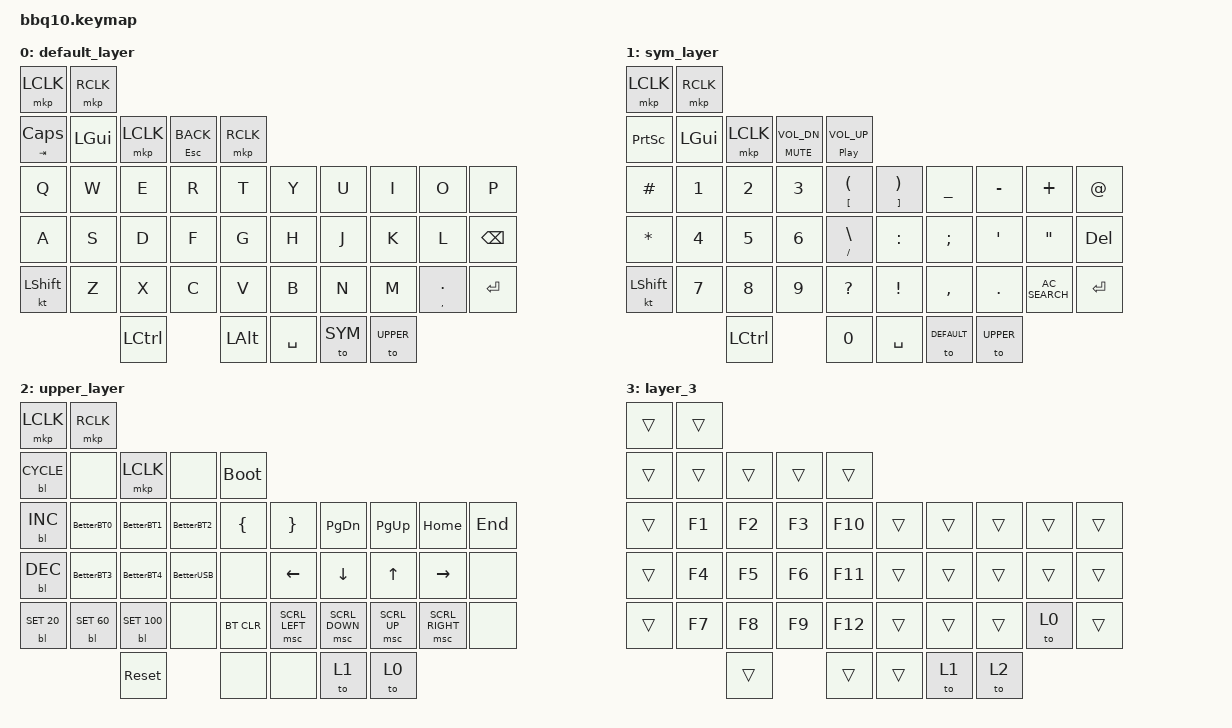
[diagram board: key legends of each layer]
/*
 * Copyright (c) 2023 ZitaoTech
 *
 * SPDX-License-Identifier: MIT
 */



#include <dt-bindings/zmk/mouse.h>
#include <behaviors.dtsi>
#include <dt-bindings/zmk/backlight.h>
#include <dt-bindings/zmk/bt.h>
#include <dt-bindings/zmk/keys.h>
#include <dt-bindings/zmk/keys.h>
#include <dt-bindings/zmk/outputs.h>
#include <dt-bindings/zmk/pointing.h>
#include <dt-bindings/zmk/pointing.h>

#define DEFAULT 0
#define SYM 1
#define UPPER 2

&msc {
    x-input-code = <INPUT_REL_HWHEEL>;
    y-input-code = <INPUT_REL_WHEEL>;
    time-to-max-speed-ms = <300>;
    acceleration-exponent = <1>;
};

&mmv {
    x-input-code = <INPUT_REL_X>;
    y-input-code = <INPUT_REL_Y>;
    time-to-max-speed-ms = <300>;
    acceleration-exponent = <1>;
};

/ {
    macros {
        BetterBT0: BetterBT0 {
            compatible = "zmk,behavior-macro";
            #binding-cells = <0>;
            bindings = <&out OUT_BLE &bt BT_SEL 0 &out OUT_BLE &bl BL_ON &bl BL_CYCLE>;
            label = "BETTERBT0";
        };

        BetterBT1: BetterBT1 {
            compatible = "zmk,behavior-macro";
            #binding-cells = <0>;
            bindings = <&out OUT_BLE &bt BT_SEL 1 &out OUT_BLE &bl BL_ON &bl BL_SET 80>;
            label = "BETTERBT1";
        };

        BetterBT2: BetterBT2 {
            compatible = "zmk,behavior-macro";
            #binding-cells = <0>;
            bindings = <&out OUT_BLE &bt BT_SEL 2 &out OUT_BLE &bl BL_ON &bl BL_SET 40>;
            label = "BETTERBT2";
        };

        BetterBT3: BetterBT3 {
            compatible = "zmk,behavior-macro";
            #binding-cells = <0>;
            bindings = <&out OUT_BLE &bt BT_SEL 3 &out OUT_BLE &bl BL_ON &bl BL_SET 20>;
            label = "BETTERBT3";
        };

        BetterBT4: BetterBT4 {
            compatible = "zmk,behavior-macro";
            #binding-cells = <0>;
            bindings = <&out OUT_BLE &bt BT_SEL 4 &out OUT_BLE &bl BL_ON &bl BL_CYCLE>;
            label = "BETTERBT4";
        };

        BetterUSB: BetterUSB {
            compatible = "zmk,behavior-macro";
            #binding-cells = <0>;
            bindings = <&out OUT_USB &bl BL_ON &bl BL_CYCLE>;
            label = "BETTERUSB";
        };
    };

    keymap {
        compatible = "zmk,keymap";

        default_layer {
            bindings = <
&mkp LCLK         &mkp RCLK
&mt TAB CAPSLOCK  &kp LGUI   &mkp LCLK  &mt ESC K_BACK  &mkp RCLK
&kp Q             &kp W      &kp E      &kp R           &kp T      &kp Y        &kp U    &kp I      &kp O          &kp P
&kp A             &kp S      &kp D      &kp F           &kp G      &kp H        &kp J    &kp K      &kp L          &kp BSPC
&kt LEFT_SHIFT    &kp Z      &kp X      &kp C           &kp V      &kp B        &kp N    &kp M      &mt COMMA DOT  &kp ENTER
                             &kp LCTRL                  &kp LALT   &kp SPACE    &to SYM  &to UPPER
            >;
        };

        sym_layer {
            bindings = <
&mkp LCLK  &mkp RCLK
&kp PSCRN  &kp LEFT_GUI  &mkp LCLK  &mt C_MUTE C_VOL_DN  &mt C_PLAY_PAUSE C_VOL_UP
&kp HASH   &kp N1        &kp N2     &kp N3               &mt LBKT LPAR              &mt RBKT RPAR    &kp UNDER    &kp MINUS  &kp PLUS         &kp AT
&kp STAR   &kp N4        &kp N5     &kp N6               &mt SLASH BACKSLASH        &kp COLON        &kp SEMI     &kp APOS   &kp DQT          &kp DEL
&kt LSHFT  &kp N7        &kp N8     &kp N9               &kp QMARK                  &kp EXCL         &kp COMMA    &kp DOT    &kp C_AC_SEARCH  &kp ENTER
                         &kp LCTRL                       &kp N0                     &kp SPACE        &to DEFAULT  &to UPPER
            >;
        };

        upper_layer {
            bindings = <
&mkp LCLK      &mkp RCLK
&bl BL_CYCLE   &none          &mkp LCLK       &none       &bootloader
&bl BL_INC     &BetterBT0     &BetterBT1      &BetterBT2  &kp LEFT_BRACE  &kp RIGHT_BRACE    &kp PAGE_DOWN   &kp PAGE_UP   &kp HOME         &kp END
&bl BL_DEC     &BetterBT3     &BetterBT4      &BetterUSB  &none           &kp LEFT           &kp DOWN        &kp UP        &kp RIGHT        &none
&bl BL_SET 20  &bl BL_SET 60  &bl BL_SET 100  &none       &bt BT_CLR      &msc SCRL_LEFT     &msc SCRL_DOWN  &msc SCRL_UP  &msc SCRL_RIGHT  &none
                              &sys_reset                  &none           &none              &to 1           &to 0
            >;
        };

        layer_3 {
            bindings = <
&trans  &trans
&trans  &trans  &trans  &trans  &trans
&trans  &kp F1  &kp F2  &kp F3  &kp F10  &trans    &trans  &trans  &trans  &trans
&trans  &kp F4  &kp F5  &kp F6  &kp F11  &trans    &trans  &trans  &trans  &trans
&trans  &kp F7  &kp F8  &kp F9  &kp F12  &trans    &trans  &trans  &to 0   &trans
                &trans          &trans   &trans    &to 1   &to 2
            >;
        };
    };
};
